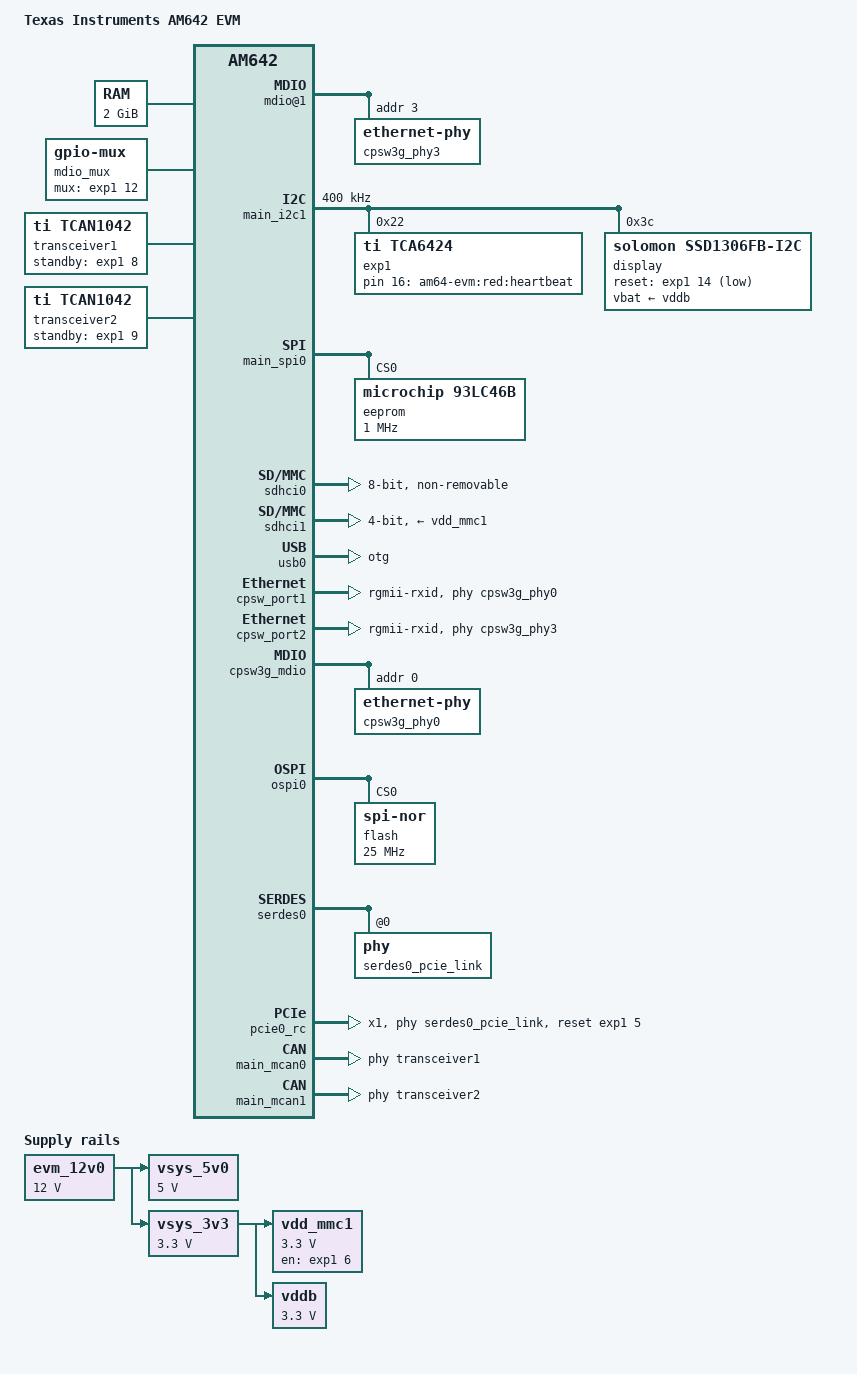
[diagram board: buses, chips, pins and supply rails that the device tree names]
// SPDX-License-Identifier: GPL-2.0
/*
 * Copyright (C) 2020-2021 Texas Instruments Incorporated - https://www.ti.com/
 */

/dts-v1/;

#include <dt-bindings/phy/phy.h>
#include <dt-bindings/mux/ti-serdes.h>
#include <dt-bindings/leds/common.h>
#include <dt-bindings/gpio/gpio.h>
#include <dt-bindings/net/ti-dp83867.h>
#include "k3-am642.dtsi"

/ {
	compatible = "ti,am642-evm", "ti,am642";
	model = "Texas Instruments AM642 EVM";

	chosen {
		stdout-path = "serial2:115200n8";
		bootargs = "console=ttyS2,115200n8 earlycon=ns16550a,mmio32,0x02800000";
	};

	memory@80000000 {
		device_type = "memory";
		/* 2G RAM */
		reg = <0x00000000 0x80000000 0x00000000 0x80000000>;

	};

	reserved-memory {
		#address-cells = <2>;
		#size-cells = <2>;
		ranges;

		secure_ddr: optee@9e800000 {
			reg = <0x00 0x9e800000 0x00 0x01800000>; /* for OP-TEE */
			alignment = <0x1000>;
			no-map;
		};

		main_r5fss0_core0_dma_memory_region: r5f-dma-memory@a0000000 {
			compatible = "shared-dma-pool";
			reg = <0x00 0xa0000000 0x00 0x100000>;
			no-map;
		};

		main_r5fss0_core0_memory_region: r5f-memory@a0100000 {
			compatible = "shared-dma-pool";
			reg = <0x00 0xa0100000 0x00 0xf00000>;
			no-map;
		};

		main_r5fss0_core1_dma_memory_region: r5f-dma-memory@a1000000 {
			compatible = "shared-dma-pool";
			reg = <0x00 0xa1000000 0x00 0x100000>;
			no-map;
		};

		main_r5fss0_core1_memory_region: r5f-memory@a1100000 {
			compatible = "shared-dma-pool";
			reg = <0x00 0xa1100000 0x00 0xf00000>;
			no-map;
		};

		main_r5fss1_core0_dma_memory_region: r5f-dma-memory@a2000000 {
			compatible = "shared-dma-pool";
			reg = <0x00 0xa2000000 0x00 0x100000>;
			no-map;
		};

		main_r5fss1_core0_memory_region: r5f-memory@a2100000 {
			compatible = "shared-dma-pool";
			reg = <0x00 0xa2100000 0x00 0xf00000>;
			no-map;
		};

		main_r5fss1_core1_dma_memory_region: r5f-dma-memory@a3000000 {
			compatible = "shared-dma-pool";
			reg = <0x00 0xa3000000 0x00 0x100000>;
			no-map;
		};

		main_r5fss1_core1_memory_region: r5f-memory@a3100000 {
			compatible = "shared-dma-pool";
			reg = <0x00 0xa3100000 0x00 0xf00000>;
			no-map;
		};

		rtos_ipc_memory_region: ipc-memories@a5000000 {
			reg = <0x00 0xa5000000 0x00 0x00800000>;
			alignment = <0x1000>;
			no-map;
		};
	};

	evm_12v0: fixedregulator-evm12v0 {
		/* main DC jack */
		compatible = "regulator-fixed";
		regulator-name = "evm_12v0";
		regulator-min-microvolt = <12000000>;
		regulator-max-microvolt = <12000000>;
		regulator-always-on;
		regulator-boot-on;
	};

	vsys_5v0: fixedregulator-vsys5v0 {
		/* output of LM5140 */
		compatible = "regulator-fixed";
		regulator-name = "vsys_5v0";
		regulator-min-microvolt = <5000000>;
		regulator-max-microvolt = <5000000>;
		vin-supply = <&evm_12v0>;
		regulator-always-on;
		regulator-boot-on;
	};

	vsys_3v3: fixedregulator-vsys3v3 {
		/* output of LM5140 */
		compatible = "regulator-fixed";
		regulator-name = "vsys_3v3";
		regulator-min-microvolt = <3300000>;
		regulator-max-microvolt = <3300000>;
		vin-supply = <&evm_12v0>;
		regulator-always-on;
		regulator-boot-on;
	};

	vdd_mmc1: fixed-regulator-sd {
		/* TPS2051BD */
		compatible = "regulator-fixed";
		regulator-name = "vdd_mmc1";
		regulator-min-microvolt = <3300000>;
		regulator-max-microvolt = <3300000>;
		regulator-boot-on;
		enable-active-high;
		vin-supply = <&vsys_3v3>;
		gpio = <&exp1 6 GPIO_ACTIVE_HIGH>;
	};

	vddb: fixedregulator-vddb {
		compatible = "regulator-fixed";
		regulator-name = "vddb_3v3_display";
		regulator-min-microvolt = <3300000>;
		regulator-max-microvolt = <3300000>;
		vin-supply = <&vsys_3v3>;
		regulator-always-on;
		regulator-boot-on;
	};

	leds {
		compatible = "gpio-leds";

		led-0 {
			label = "am64-evm:red:heartbeat";
			gpios = <&exp1 16 GPIO_ACTIVE_HIGH>;
			linux,default-trigger = "heartbeat";
			function = LED_FUNCTION_HEARTBEAT;
			default-state = "off";
		};
	};

	mdio_mux: mux-controller {
		compatible = "gpio-mux";
		#mux-control-cells = <0>;

		mux-gpios = <&exp1 12 GPIO_ACTIVE_HIGH>;
	};

	mdio-mux-1 {
		compatible = "mdio-mux-multiplexer";
		mux-controls = <&mdio_mux>;
		mdio-parent-bus = <&cpsw3g_mdio>;
		#address-cells = <1>;
		#size-cells = <0>;

		mdio@1 {
			reg = <0x1>;
			#address-cells = <1>;
			#size-cells = <0>;

			cpsw3g_phy3: ethernet-phy@3 {
				reg = <3>;
			};
		};
	};

	transceiver1: can-phy0 {
		compatible = "ti,tcan1042";
		#phy-cells = <0>;
		max-bitrate = <5000000>;
		standby-gpios = <&exp1 8 GPIO_ACTIVE_HIGH>;
	};

	transceiver2: can-phy1 {
		compatible = "ti,tcan1042";
		#phy-cells = <0>;
		max-bitrate = <5000000>;
		standby-gpios = <&exp1 9 GPIO_ACTIVE_HIGH>;
	};
};

&main_pmx0 {
	main_mmc1_pins_default: main-mmc1-pins-default {
		pinctrl-single,pins = <
			AM64X_IOPAD(0x0294, PIN_INPUT_PULLUP, 0) /* (J19) MMC1_CMD */
			AM64X_IOPAD(0x028c, PIN_INPUT_PULLDOWN, 0) /* (L20) MMC1_CLK */
			AM64X_IOPAD(0x0288, PIN_INPUT_PULLUP, 0) /* (K21) MMC1_DAT0 */
			AM64X_IOPAD(0x0284, PIN_INPUT_PULLUP, 0) /* (L21) MMC1_DAT1 */
			AM64X_IOPAD(0x0280, PIN_INPUT_PULLUP, 0) /* (K19) MMC1_DAT2 */
			AM64X_IOPAD(0x027c, PIN_INPUT_PULLUP, 0) /* (K18) MMC1_DAT3 */
			AM64X_IOPAD(0x0298, PIN_INPUT_PULLUP, 0) /* (D19) MMC1_SDCD */
			AM64X_IOPAD(0x029c, PIN_INPUT, 0) /* (C20) MMC1_SDWP */
			AM64X_IOPAD(0x0290, PIN_INPUT, 0) /* MMC1_CLKLB */
		>;
	};

	main_uart0_pins_default: main-uart0-pins-default {
		pinctrl-single,pins = <
			AM64X_IOPAD(0x0238, PIN_INPUT, 0) /* (B16) UART0_CTSn */
			AM64X_IOPAD(0x023c, PIN_OUTPUT, 0) /* (A16) UART0_RTSn */
			AM64X_IOPAD(0x0230, PIN_INPUT, 0) /* (D15) UART0_RXD */
			AM64X_IOPAD(0x0234, PIN_OUTPUT, 0) /* (C16) UART0_TXD */
		>;
	};

	main_spi0_pins_default: main-spi0-pins-default {
		pinctrl-single,pins = <
			AM64X_IOPAD(0x0210, PIN_INPUT, 0) /* (D13) SPI0_CLK */
			AM64X_IOPAD(0x0208, PIN_OUTPUT, 0) /* (D12) SPI0_CS0 */
			AM64X_IOPAD(0x0214, PIN_OUTPUT, 0) /* (A13) SPI0_D0 */
			AM64X_IOPAD(0x0218, PIN_INPUT, 0) /* (A14) SPI0_D1 */
		>;
	};

	main_i2c1_pins_default: main-i2c1-pins-default {
		pinctrl-single,pins = <
			AM64X_IOPAD(0x0268, PIN_INPUT_PULLUP, 0) /* (C18) I2C1_SCL */
			AM64X_IOPAD(0x026c, PIN_INPUT_PULLUP, 0) /* (B19) I2C1_SDA */
		>;
	};

	mdio1_pins_default: mdio1-pins-default {
		pinctrl-single,pins = <
			AM64X_IOPAD(0x01fc, PIN_OUTPUT, 4) /* (R2) PRG0_PRU1_GPO19.MDIO0_MDC */
			AM64X_IOPAD(0x01f8, PIN_INPUT, 4) /* (P5) PRG0_PRU1_GPO18.MDIO0_MDIO */
		>;
	};

	rgmii1_pins_default: rgmii1-pins-default {
		pinctrl-single,pins = <
			AM64X_IOPAD(0x01cc, PIN_INPUT, 4) /* (W5) PRG0_PRU1_GPO7.RGMII1_RD0 */
			AM64X_IOPAD(0x01d4, PIN_INPUT, 4) /* (Y5) PRG0_PRU1_GPO9.RGMII1_RD1 */
			AM64X_IOPAD(0x01d8, PIN_INPUT, 4) /* (V6) PRG0_PRU1_GPO10.RGMII1_RD2 */
			AM64X_IOPAD(0x01f4, PIN_INPUT, 4) /* (V5) PRG0_PRU1_GPO17.RGMII1_RD3 */
			AM64X_IOPAD(0x0188, PIN_INPUT, 4) /* (AA5) PRG0_PRU0_GPO10.RGMII1_RXC */
			AM64X_IOPAD(0x0184, PIN_INPUT, 4) /* (W6) PRG0_PRU0_GPO9.RGMII1_RX_CTL */
			AM64X_IOPAD(0x0124, PIN_OUTPUT, 4) /* (V15) PRG1_PRU1_GPO7.RGMII1_TD0 */
			AM64X_IOPAD(0x012c, PIN_OUTPUT, 4) /* (V14) PRG1_PRU1_GPO9.RGMII1_TD1 */
			AM64X_IOPAD(0x0130, PIN_OUTPUT, 4) /* (W14) PRG1_PRU1_GPO10.RGMII1_TD2 */
			AM64X_IOPAD(0x014c, PIN_OUTPUT, 4) /* (AA14) PRG1_PRU1_GPO17.RGMII1_TD3 */
			AM64X_IOPAD(0x00e0, PIN_OUTPUT, 4) /* (U14) PRG1_PRU0_GPO10.RGMII1_TXC */
			AM64X_IOPAD(0x00dc, PIN_OUTPUT, 4) /* (U15) PRG1_PRU0_GPO9.RGMII1_TX_CTL */
		>;
	};

       rgmii2_pins_default: rgmii2-pins-default {
		pinctrl-single,pins = <
			AM64X_IOPAD(0x0108, PIN_INPUT, 4) /* (W11) PRG1_PRU1_GPO0.RGMII2_RD0 */
			AM64X_IOPAD(0x010c, PIN_INPUT, 4) /* (V11) PRG1_PRU1_GPO1.RGMII2_RD1 */
			AM64X_IOPAD(0x0110, PIN_INPUT, 4) /* (AA12) PRG1_PRU1_GPO2.RGMII2_RD2 */
			AM64X_IOPAD(0x0114, PIN_INPUT, 4) /* (Y12) PRG1_PRU1_GPO3.RGMII2_RD3 */
			AM64X_IOPAD(0x0120, PIN_INPUT, 4) /* (U11) PRG1_PRU1_GPO6.RGMII2_RXC */
			AM64X_IOPAD(0x0118, PIN_INPUT, 4) /* (W12) PRG1_PRU1_GPO4.RGMII2_RX_CTL */
			AM64X_IOPAD(0x0134, PIN_OUTPUT, 4) /* (AA10) PRG1_PRU1_GPO11.RGMII2_TD0 */
			AM64X_IOPAD(0x0138, PIN_OUTPUT, 4) /* (V10) PRG1_PRU1_GPO12.RGMII2_TD1 */
			AM64X_IOPAD(0x013c, PIN_OUTPUT, 4) /* (U10) PRG1_PRU1_GPO13.RGMII2_TD2 */
			AM64X_IOPAD(0x0140, PIN_OUTPUT, 4) /* (AA11) PRG1_PRU1_GPO14.RGMII2_TD3 */
			AM64X_IOPAD(0x0148, PIN_OUTPUT, 4) /* (Y10) PRG1_PRU1_GPO16.RGMII2_TXC */
			AM64X_IOPAD(0x0144, PIN_OUTPUT, 4) /* (Y11) PRG1_PRU1_GPO15.RGMII2_TX_CTL */
		>;
	};

	main_usb0_pins_default: main-usb0-pins-default {
		pinctrl-single,pins = <
			AM64X_IOPAD(0x02a8, PIN_OUTPUT, 0) /* (E19) USB0_DRVVBUS */
		>;
	};

	ospi0_pins_default: ospi0-pins-default {
		pinctrl-single,pins = <
			AM64X_IOPAD(0x0000, PIN_OUTPUT, 0) /* (N20) OSPI0_CLK */
			AM64X_IOPAD(0x002c, PIN_OUTPUT, 0) /* (L19) OSPI0_CSn0 */
			AM64X_IOPAD(0x000c, PIN_INPUT, 0) /* (M19) OSPI0_D0 */
			AM64X_IOPAD(0x0010, PIN_INPUT, 0) /* (M18) OSPI0_D1 */
			AM64X_IOPAD(0x0014, PIN_INPUT, 0) /* (M20) OSPI0_D2 */
			AM64X_IOPAD(0x0018, PIN_INPUT, 0) /* (M21) OSPI0_D3 */
			AM64X_IOPAD(0x001c, PIN_INPUT, 0) /* (P21) OSPI0_D4 */
			AM64X_IOPAD(0x0020, PIN_INPUT, 0) /* (P20) OSPI0_D5 */
			AM64X_IOPAD(0x0024, PIN_INPUT, 0) /* (N18) OSPI0_D6 */
			AM64X_IOPAD(0x0028, PIN_INPUT, 0) /* (M17) OSPI0_D7 */
			AM64X_IOPAD(0x0008, PIN_INPUT, 0) /* (N19) OSPI0_DQS */
		>;
	};

	main_ecap0_pins_default: main-ecap0-pins-default {
		pinctrl-single,pins = <
			AM64X_IOPAD(0x0270, PIN_INPUT, 0) /* (D18) ECAP0_IN_APWM_OUT */
		>;
	};

	main_mcan0_pins_default: main-mcan0-pins-default {
		pinctrl-single,pins = <
			AM64X_IOPAD(0x0254, PIN_INPUT, 0) /* (B17) MCAN0_RX */
			AM64X_IOPAD(0x0250, PIN_OUTPUT, 0) /* (A17) MCAN0_TX */
		>;
	};

	main_mcan1_pins_default: main-mcan1-pins-default {
		pinctrl-single,pins = <
			AM64X_IOPAD(0x025c, PIN_INPUT, 0) /* (D17) MCAN1_RX */
			AM64X_IOPAD(0x0258, PIN_OUTPUT, 0) /* (C17) MCAN1_TX */
		>;
	};
};

&main_uart0 {
	pinctrl-names = "default";
	pinctrl-0 = <&main_uart0_pins_default>;
};

/* main_uart1 is reserved for firmware usage */
&main_uart1 {
	status = "reserved";
};

&main_uart2 {
	status = "disabled";
};

&main_uart3 {
	status = "disabled";
};

&main_uart4 {
	status = "disabled";
};

&main_uart5 {
	status = "disabled";
};

&main_uart6 {
	status = "disabled";
};

&mcu_uart0 {
	status = "disabled";
};

&mcu_uart1 {
	status = "disabled";
};

&main_i2c1 {
	pinctrl-names = "default";
	pinctrl-0 = <&main_i2c1_pins_default>;
	clock-frequency = <400000>;

	exp1: gpio@22 {
		compatible = "ti,tca6424";
		reg = <0x22>;
		gpio-controller;
		#gpio-cells = <2>;
		gpio-line-names = "GPIO_eMMC_RSTn", "CAN_MUX_SEL",
				  "GPIO_CPSW1_RST", "GPIO_RGMII1_RST",
				  "GPIO_RGMII2_RST", "GPIO_PCIe_RST_OUT",
				  "MMC1_SD_EN", "FSI_FET_SEL",
				  "MCAN0_STB_3V3", "MCAN1_STB_3V3",
				  "CPSW_FET_SEL", "CPSW_FET2_SEL",
				  "PRG1_RGMII2_FET_SEL", "TEST_GPIO2",
				  "GPIO_OLED_RESETn", "VPP_LDO_EN",
				  "TEST_LED1", "TP92", "TP90", "TP88",
				  "TP87", "TP86", "TP89", "TP91";
	};

	/* osd9616p0899-10 */
	display@3c {
		compatible = "solomon,ssd1306fb-i2c";
		reg = <0x3c>;
		reset-gpios = <&exp1 14 GPIO_ACTIVE_LOW>;
		vbat-supply = <&vddb>;
		solomon,height = <16>;
		solomon,width = <96>;
		solomon,com-seq;
		solomon,com-invdir;
		solomon,page-offset = <0>;
		solomon,prechargep1 = <2>;
		solomon,prechargep2 = <13>;
	};
};

/* mcu_gpio0 is reserved for mcu firmware usage */
&mcu_gpio0 {
	status = "reserved";
};

&mcu_i2c0 {
	status = "disabled";
};

&mcu_i2c1 {
	status = "disabled";
};

&mcu_spi0 {
	status = "disabled";
};

&mcu_spi1 {
	status = "disabled";
};

&main_spi0 {
	pinctrl-names = "default";
	pinctrl-0 = <&main_spi0_pins_default>;
	ti,pindir-d0-out-d1-in;
	eeprom@0 {
		compatible = "microchip,93lc46b";
		reg = <0>;
		spi-max-frequency = <1000000>;
		spi-cs-high;
		data-size = <16>;
	};
};

&sdhci0 {
	/* emmc */
	bus-width = <8>;
	non-removable;
	ti,driver-strength-ohm = <50>;
	disable-wp;
};

&sdhci1 {
	/* SD/MMC */
	vmmc-supply = <&vdd_mmc1>;
	pinctrl-names = "default";
	bus-width = <4>;
	pinctrl-0 = <&main_mmc1_pins_default>;
	ti,driver-strength-ohm = <50>;
	disable-wp;
};

&usbss0 {
	ti,vbus-divider;
	ti,usb2-only;
};

&usb0 {
	dr_mode = "otg";
	maximum-speed = "high-speed";
	pinctrl-names = "default";
	pinctrl-0 = <&main_usb0_pins_default>;
};

&cpsw3g {
	pinctrl-names = "default";
	pinctrl-0 = <&mdio1_pins_default
		     &rgmii1_pins_default
		     &rgmii2_pins_default>;
};

&cpsw_port1 {
	phy-mode = "rgmii-rxid";
	phy-handle = <&cpsw3g_phy0>;
};

&cpsw_port2 {
	phy-mode = "rgmii-rxid";
	phy-handle = <&cpsw3g_phy3>;
};

&cpsw3g_mdio {
	cpsw3g_phy0: ethernet-phy@0 {
		reg = <0>;
		ti,rx-internal-delay = <DP83867_RGMIIDCTL_2_00_NS>;
		ti,fifo-depth = <DP83867_PHYCR_FIFO_DEPTH_4_B_NIB>;
	};
};

&tscadc0 {
	/* ADC is reserved for R5 usage */
	status = "reserved";
};

&ospi0 {
	pinctrl-names = "default";
	pinctrl-0 = <&ospi0_pins_default>;

	flash@0 {
		compatible = "jedec,spi-nor";
		reg = <0x0>;
		spi-tx-bus-width = <8>;
		spi-rx-bus-width = <8>;
		spi-max-frequency = <25000000>;
		cdns,tshsl-ns = <60>;
		cdns,tsd2d-ns = <60>;
		cdns,tchsh-ns = <60>;
		cdns,tslch-ns = <60>;
		cdns,read-delay = <4>;
	};
};

&mailbox0_cluster2 {
	mbox_main_r5fss0_core0: mbox-main-r5fss0-core0 {
		ti,mbox-rx = <0 0 2>;
		ti,mbox-tx = <1 0 2>;
	};

	mbox_main_r5fss0_core1: mbox-main-r5fss0-core1 {
		ti,mbox-rx = <2 0 2>;
		ti,mbox-tx = <3 0 2>;
	};
};

&mailbox0_cluster3 {
	status = "disabled";
};

&mailbox0_cluster4 {
	mbox_main_r5fss1_core0: mbox-main-r5fss1-core0 {
		ti,mbox-rx = <0 0 2>;
		ti,mbox-tx = <1 0 2>;
	};

	mbox_main_r5fss1_core1: mbox-main-r5fss1-core1 {
		ti,mbox-rx = <2 0 2>;
		ti,mbox-tx = <3 0 2>;
	};
};

&mailbox0_cluster5 {
	status = "disabled";
};

&mailbox0_cluster6 {
	mbox_m4_0: mbox-m4-0 {
		ti,mbox-rx = <0 0 2>;
		ti,mbox-tx = <1 0 2>;
	};
};

&mailbox0_cluster7 {
	status = "disabled";
};

&main_r5fss0_core0 {
	mboxes = <&mailbox0_cluster2 &mbox_main_r5fss0_core0>;
	memory-region = <&main_r5fss0_core0_dma_memory_region>,
			<&main_r5fss0_core0_memory_region>;
};

&main_r5fss0_core1 {
	mboxes = <&mailbox0_cluster2 &mbox_main_r5fss0_core1>;
	memory-region = <&main_r5fss0_core1_dma_memory_region>,
			<&main_r5fss0_core1_memory_region>;
};

&main_r5fss1_core0 {
	mboxes = <&mailbox0_cluster4 &mbox_main_r5fss1_core0>;
	memory-region = <&main_r5fss1_core0_dma_memory_region>,
			<&main_r5fss1_core0_memory_region>;
};

&main_r5fss1_core1 {
	mboxes = <&mailbox0_cluster4 &mbox_main_r5fss1_core1>;
	memory-region = <&main_r5fss1_core1_dma_memory_region>,
			<&main_r5fss1_core1_memory_region>;
};

&serdes_ln_ctrl {
	idle-states = <AM64_SERDES0_LANE0_PCIE0>;
};

&serdes0 {
	serdes0_pcie_link: phy@0 {
		reg = <0>;
		cdns,num-lanes = <1>;
		#phy-cells = <0>;
		cdns,phy-type = <PHY_TYPE_PCIE>;
		resets = <&serdes_wiz0 1>;
	};
};

&pcie0_rc {
	reset-gpios = <&exp1 5 GPIO_ACTIVE_HIGH>;
	phys = <&serdes0_pcie_link>;
	phy-names = "pcie-phy";
	num-lanes = <1>;
};

&pcie0_ep {
	phys = <&serdes0_pcie_link>;
	phy-names = "pcie-phy";
	num-lanes = <1>;
	status = "disabled";
};

&ecap0 {
	/* PWM is available on Pin 1 of header J12 */
	pinctrl-names = "default";
	pinctrl-0 = <&main_ecap0_pins_default>;
};

&ecap1 {
	status = "disabled";
};

&ecap2 {
	status = "disabled";
};

&epwm0 {
	status = "disabled";
};

&epwm1 {
	status = "disabled";
};

&epwm2 {
	status = "disabled";
};

&epwm3 {
	status = "disabled";
};

&epwm4 {
	status = "disabled";
};

&epwm5 {
	status = "disabled";
};

&epwm6 {
	status = "disabled";
};

&epwm7 {
	status = "disabled";
};

&epwm8 {
	status = "disabled";
};

&icssg0_mdio {
	status = "disabled";
};

&icssg1_mdio {
	status = "disabled";
};

&main_mcan0 {
	pinctrl-names = "default";
	pinctrl-0 = <&main_mcan0_pins_default>;
	phys = <&transceiver1>;
};

&main_mcan1 {
	pinctrl-names = "default";
	pinctrl-0 = <&main_mcan1_pins_default>;
	phys = <&transceiver2>;
};

&gpmc0 {
	status = "disabled";
};

&elm0 {
	status = "disabled";
};
